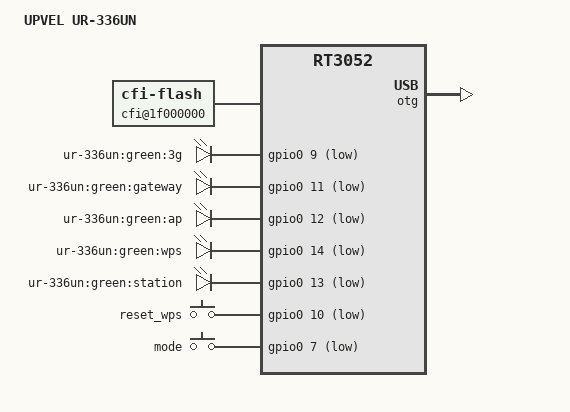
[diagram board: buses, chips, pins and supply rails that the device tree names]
/dts-v1/;

#include "rt3050.dtsi"

/ {
	compatible = "UR-336UN", "ralink,rt3052-soc";
	model = "UPVEL UR-336UN";

	cfi@1f000000 {
		compatible = "cfi-flash";
		reg = <0x1f000000 0x800000>;
		bank-width = <2>;
		device-width = <2>;
		#address-cells = <1>;
		#size-cells = <1>;
	};

	gpio-leds {
		compatible = "gpio-leds";

		3g {
			label = "ur-336un:green:3g";
			gpios = <&gpio0 9 1>;
		};

		gateway {
			label = "ur-336un:green:gateway";
			gpios = <&gpio0 11 1>;
		};

		ap {
			label = "ur-336un:green:ap";
			gpios = <&gpio0 12 1>;
		};

		wps {
			label = "ur-336un:green:wps";
			gpios = <&gpio0 14 1>;
		};

		station {
			label = "ur-336un:green:station";
			gpios = <&gpio0 13 1>;
		};
	};

	gpio-keys-polled {
		compatible = "gpio-keys-polled";
		#address-cells = <1>;
		#size-cells = <0>;
		poll-interval = <20>;

		reset_wps {
			label = "reset_wps";
			gpios = <&gpio0 10 1>;
			linux,code = <0x198>;
		};

		mode {
			label = "mode";
			gpios = <&gpio0 7 1>;
			linux,code = <0x32>;
		};
	};
};

&pinctrl {
	state_default: pinctrl0 {
		gpio {
			ralink,group = "spi", "i2c", "jtag", "rgmii", "mdio", "uartf";
			ralink,function = "gpio";
		};
	};
};

/* FIXME: no partitions defined */
/*&ethernet {
	mtd-mac-address = <&factory 0x4004>;
};
*/
&esw {
	mediatek,portmap = <0x2f>;
};

/* FIXME: no partitions defined */
/*&wmac {
	ralink,mtd-eeprom = <&factory 0>;
};
*/
&otg {
	status = "okay";
};
